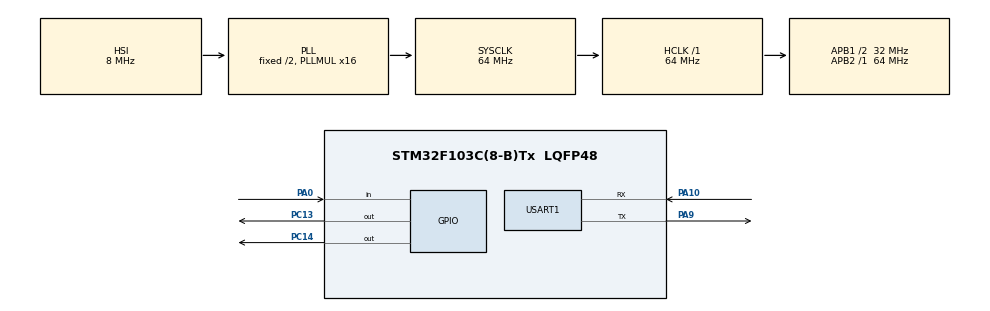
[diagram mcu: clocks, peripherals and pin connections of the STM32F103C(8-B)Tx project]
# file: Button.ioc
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Mcu.Family=STM32F1
Mcu.Name=STM32F103C(8-B)Tx
Mcu.Package=LQFP48
NVIC.PriorityGroup=NVIC_PRIORITYGROUP_4
PA0-WKUP.GPIO_PuPd=GPIO_PULLUP
PA0-WKUP.Signal=GPIO_Input
PA10.Mode=Asynchronous
PA10.Signal=USART1_RX
PA13.Mode=Serial_Wire
PA13.Signal=SYS_JTMS-SWDIO
PA14.Mode=Serial_Wire
PA14.Signal=SYS_JTCK-SWCLK
PA9.Mode=Asynchronous
PA9.Signal=USART1_TX
PC13-TAMPER-RTC.Signal=GPIO_Output
PC14-OSC32_IN.Signal=GPIO_Output
PD0-OSC_IN.Mode=HSE-External-Oscillator
PD0-OSC_IN.Signal=RCC_OSC_IN
PD1-OSC_OUT.Mode=HSE-External-Oscillator
PD1-OSC_OUT.Signal=RCC_OSC_OUT
ProjectManager.HeapSize=0x200
ProjectManager.StackSize=0x400
ProjectManager.TargetToolchain=STM32CubeIDE
RCC.AHBFreq_Value=64000000
RCC.APB1CLKDivider=RCC_HCLK_DIV2
RCC.APB1Freq_Value=32000000
RCC.APB1TimFreq_Value=64000000
RCC.APB2Freq_Value=64000000
RCC.APB2TimFreq_Value=64000000
RCC.HCLKFreq_Value=64000000
RCC.PLLMUL=RCC_PLL_MUL16
RCC.SYSCLKFreq_VALUE=64000000
RCC.SYSCLKSource=RCC_SYSCLKSOURCE_PLLCLK
RCC.USBFreq_Value=64000000
USART1.VirtualMode=VM_ASYNC
board=custom

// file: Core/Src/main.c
/* USER CODE BEGIN Header */
/**
  ******************************************************************************
  * @file           : main.c
  * @brief          : Main program body
  ******************************************************************************
  * @attention
  *
  * Copyright (c) 2025 STMicroelectronics.
  * All rights reserved.
  *
  * This software is licensed under terms that can be found in the LICENSE file
  * in the root directory of this software component.
  * If no LICENSE file comes with this software, it is provided AS-IS.
  *
  ******************************************************************************
  */
/* USER CODE END Header */
#include "main.h"

/* USER CODE BEGIN Includes */
#include <stdio.h>
#include <string.h>
/* USER CODE END Includes */

 UART_HandleTypeDef huart1;

void SystemClock_Config(void);
static void MX_GPIO_Init(void);
static void MX_USART1_UART_Init(void);

/* USER CODE BEGIN 0 */
uint8_t last_sta_btn = 1;;
uint8_t text[] = "STM32\n";
void button_handle()
{

}
/* USER CODE END 0 */

int main(void)
{

  /* MCU Configuration--------------------------------------------------------*/

  /* Reset of all peripherals, Initializes the Flash interface and the Systick. */
  HAL_Init();

  /* Configure the system clock */
  SystemClock_Config();

  /* Initialize all configured peripherals */
  MX_GPIO_Init();
  MX_USART1_UART_Init();
  /* USER CODE BEGIN 2 */
  HAL_UART_Transmit(&huart1, text, sizeof(text), 500);
  /* USER CODE END 2 */

  /* Infinite loop */
  while (1)
  {

    /* USER CODE BEGIN 3 */
	  uint8_t sta_btn = (uint8_t) HAL_GPIO_ReadPin(GPIOA, GPIO_PIN_0);
	  if (sta_btn != last_sta_btn)
	  {
		  last_sta_btn = sta_btn;
		  uint8_t message[] = {sta_btn + '0', '\r', '\n'};
		  	  if (sta_btn == 0)
		  	  {
		  		  HAL_GPIO_WritePin(GPIOC, GPIO_PIN_13, GPIO_PIN_RESET);
		  		  HAL_GPIO_TogglePin(GPIOC, GPIO_PIN_14);
		  	  }
		  	  else
		  	  {
		  		  HAL_GPIO_WritePin(GPIOC, GPIO_PIN_13, GPIO_PIN_SET);
		  		  HAL_GPIO_TogglePin(GPIOC, GPIO_PIN_14);
		  	  }
		  	  HAL_UART_Transmit(&huart1, message, sizeof(message), 1000);
		    }
	  HAL_Delay(50);
	  }

  /* USER CODE END 3 */
}

void SystemClock_Config(void)
{
  RCC_OscInitTypeDef RCC_OscInitStruct = {0};
  RCC_ClkInitTypeDef RCC_ClkInitStruct = {0};

  /** Initializes the RCC Oscillators according to the specified parameters
  * in the RCC_OscInitTypeDef structure.
  */
  RCC_OscInitStruct.OscillatorType = RCC_OSCILLATORTYPE_HSI;
  RCC_OscInitStruct.HSIState = RCC_HSI_ON;
  RCC_OscInitStruct.HSICalibrationValue = RCC_HSICALIBRATION_DEFAULT;
  RCC_OscInitStruct.PLL.PLLState = RCC_PLL_ON;
  RCC_OscInitStruct.PLL.PLLSource = RCC_PLLSOURCE_HSI_DIV2;
  RCC_OscInitStruct.PLL.PLLMUL = RCC_PLL_MUL16;
  if (HAL_RCC_OscConfig(&RCC_OscInitStruct) != HAL_OK)
  {
    Error_Handler();
  }

  /** Initializes the CPU, AHB and APB buses clocks
  */
  RCC_ClkInitStruct.ClockType = RCC_CLOCKTYPE_HCLK|RCC_CLOCKTYPE_SYSCLK
                              |RCC_CLOCKTYPE_PCLK1|RCC_CLOCKTYPE_PCLK2;
  RCC_ClkInitStruct.SYSCLKSource = RCC_SYSCLKSOURCE_PLLCLK;
  RCC_ClkInitStruct.AHBCLKDivider = RCC_SYSCLK_DIV1;
  RCC_ClkInitStruct.APB1CLKDivider = RCC_HCLK_DIV2;
  RCC_ClkInitStruct.APB2CLKDivider = RCC_HCLK_DIV1;

  if (HAL_RCC_ClockConfig(&RCC_ClkInitStruct, FLASH_LATENCY_2) != HAL_OK)
  {
    Error_Handler();
  }
}

static void MX_USART1_UART_Init(void)
{

  huart1.Instance = USART1;
  huart1.Init.BaudRate = 115200;
  huart1.Init.WordLength = UART_WORDLENGTH_8B;
  huart1.Init.StopBits = UART_STOPBITS_1;
  huart1.Init.Parity = UART_PARITY_NONE;
  huart1.Init.Mode = UART_MODE_TX_RX;
  huart1.Init.HwFlowCtl = UART_HWCONTROL_NONE;
  huart1.Init.OverSampling = UART_OVERSAMPLING_16;
  if (HAL_UART_Init(&huart1) != HAL_OK)
  {
    Error_Handler();
  }

}

static void MX_GPIO_Init(void)
{
  GPIO_InitTypeDef GPIO_InitStruct = {0};

  /* GPIO Ports Clock Enable */
  __HAL_RCC_GPIOC_CLK_ENABLE();
  __HAL_RCC_GPIOD_CLK_ENABLE();
  __HAL_RCC_GPIOA_CLK_ENABLE();

  /*Configure GPIO pin Output Level */
  HAL_GPIO_WritePin(GPIOC, GPIO_PIN_13|GPIO_PIN_14, GPIO_PIN_RESET);

  /*Configure GPIO pins : PC13 PC14 */
  GPIO_InitStruct.Pin = GPIO_PIN_13|GPIO_PIN_14;
  GPIO_InitStruct.Mode = GPIO_MODE_OUTPUT_PP;
  GPIO_InitStruct.Pull = GPIO_NOPULL;
  GPIO_InitStruct.Speed = GPIO_SPEED_FREQ_LOW;
  HAL_GPIO_Init(GPIOC, &GPIO_InitStruct);

  /*Configure GPIO pin : PA0 */
  GPIO_InitStruct.Pin = GPIO_PIN_0;
  GPIO_InitStruct.Mode = GPIO_MODE_INPUT;
  GPIO_InitStruct.Pull = GPIO_PULLUP;
  HAL_GPIO_Init(GPIOA, &GPIO_InitStruct);

}

void Error_Handler(void)
{
  __disable_irq();
  while (1)
  {
  }
}
